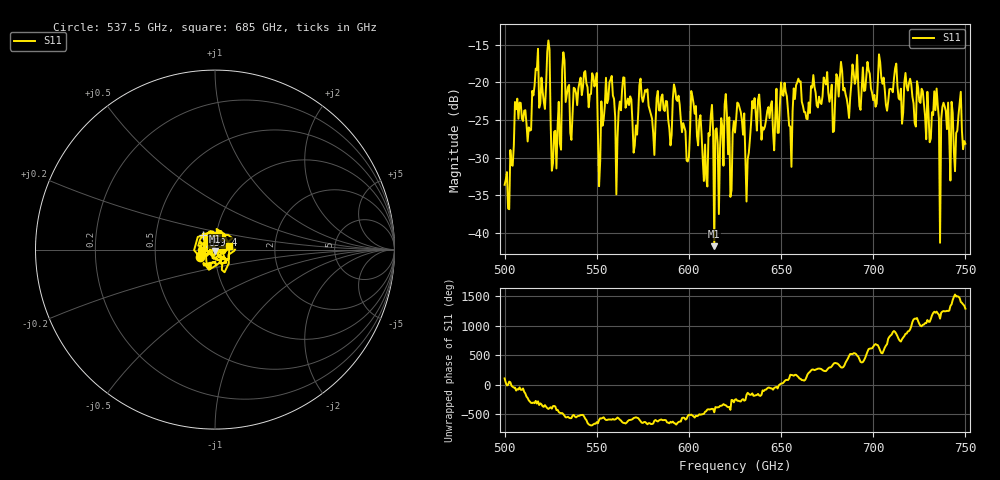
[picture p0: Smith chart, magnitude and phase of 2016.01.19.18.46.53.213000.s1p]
!Created with skrf (http://scikit-rf.org).
# GHz S RI R 50.0
!freq ReS11 ImS11
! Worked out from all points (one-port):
!   401 points, 500 GHz to 750 GHz, reference 50 ohm
!   lowest |S11| = -41.7 dB at 613.8 GHz (marker M1), VSWR 1.02, Z = 49.7 - j0.775 ohm
!   |S11| at or under -10 dB: start of sweep to end of sweep
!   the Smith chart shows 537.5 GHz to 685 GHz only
!   S11 on the Smith chart (normalised r, x): 537.5 GHz: 0.85, -0.07; 659.4 GHz: 0.86, +0.14; 685 GHz: 1.17, +0.05
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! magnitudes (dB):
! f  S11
! 500 GHz  -33.6
! 503.1 GHz  -29.0
! 506.9 GHz  -22.2
! 513.1 GHz  -26.0
! 516.9 GHz  -18.2
! 523.8 GHz  -14.4
! 526.9 GHz  -26.5
! 531.2 GHz  -18.3
! 537.5 GHz  -20.7
! 548.8 GHz  -20.5
! 551.9 GHz  -30.4
! 556.2 GHz  -22.2
! 562.5 GHz  -22.5
! 593.8 GHz  -22.5
! 598.8 GHz  -30.4
! 602.5 GHz  -22.8
! 608.8 GHz  -28.2
! 611.9 GHz  -24.4
! 613.8 GHz  -41.7
! 625 GHz  -26.6
! 631.9 GHz  -30.2
! 635 GHz  -23.4
! 656.2 GHz  -23.8
! 659.4 GHz  -19.5
! 685 GHz  -21.6
! 687.5 GHz  -22.0
! 718.8 GHz  -21.1
! 750 GHz  -28.1
